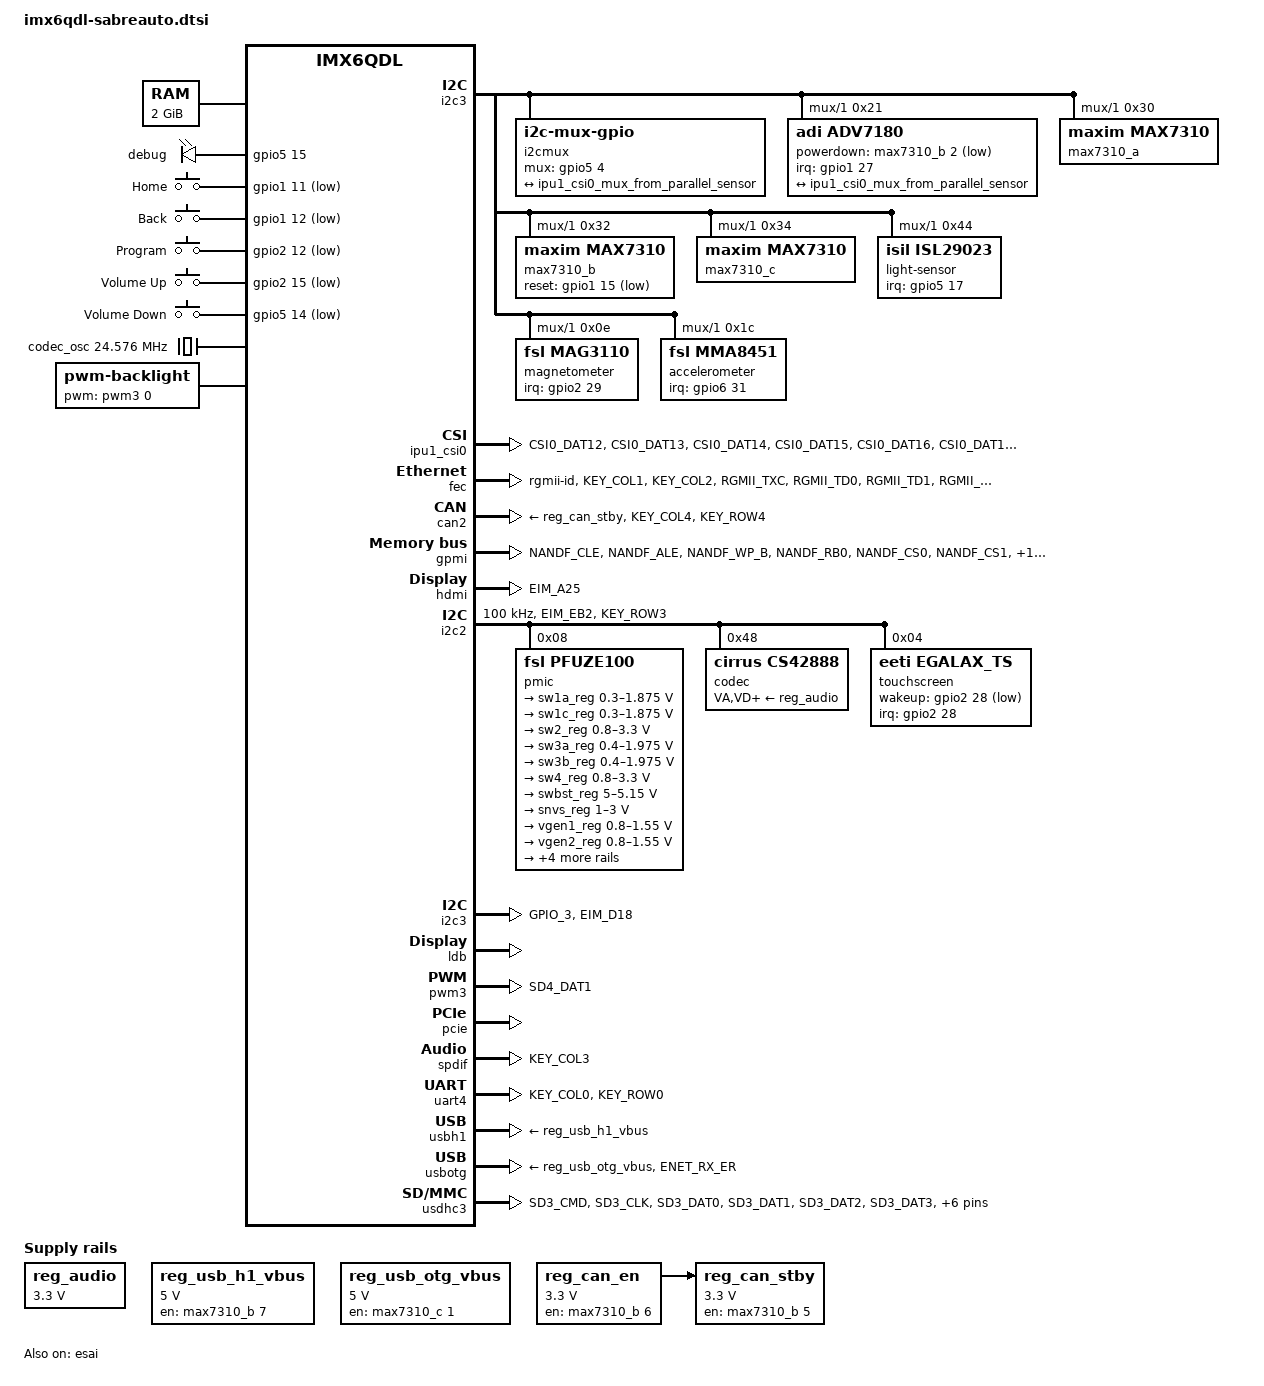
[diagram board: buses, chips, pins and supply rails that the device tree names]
// SPDX-License-Identifier: GPL-2.0+
//
// Copyright 2012 Freescale Semiconductor, Inc.
// Copyright 2011 Linaro Ltd.

#include <dt-bindings/gpio/gpio.h>
#include <dt-bindings/input/input.h>

/ {
	chosen {
		stdout-path = &uart4;
	};

	memory@10000000 {
		device_type = "memory";
		reg = <0x10000000 0x80000000>;
	};

	leds {
		compatible = "gpio-leds";
		pinctrl-names = "default";
		pinctrl-0 = <&pinctrl_gpio_leds>;

		led-user {
			label = "debug";
			gpios = <&gpio5 15 GPIO_ACTIVE_HIGH>;
		};
	};

	gpio-keys {
		compatible = "gpio-keys";
		pinctrl-names = "default";
		pinctrl-0 = <&pinctrl_gpio_keys>;

		home {
			label = "Home";
			gpios = <&gpio1 11 GPIO_ACTIVE_LOW>;
			linux,code = <KEY_HOME>;
			wakeup-source;
		};

		back {
			label = "Back";
			gpios = <&gpio1 12 GPIO_ACTIVE_LOW>;
			linux,code = <KEY_BACK>;
			wakeup-source;
		};

		program {
			label = "Program";
			gpios = <&gpio2 12 GPIO_ACTIVE_LOW>;
			linux,code = <KEY_PROGRAM>;
			wakeup-source;
		};

		volume-up {
			label = "Volume Up";
			gpios = <&gpio2 15 GPIO_ACTIVE_LOW>;
			linux,code = <KEY_VOLUMEUP>;
			wakeup-source;
		};

		volume-down {
			label = "Volume Down";
			gpios = <&gpio5 14 GPIO_ACTIVE_LOW>;
			linux,code = <KEY_VOLUMEDOWN>;
			wakeup-source;
		};
	};

	clocks {
		codec_osc: anaclk2 {
			compatible = "fixed-clock";
			#clock-cells = <0>;
			clock-frequency = <24576000>;
		};
	};

	reg_audio: regulator-audio {
		compatible = "regulator-fixed";
		regulator-name = "cs42888_supply";
		regulator-min-microvolt = <3300000>;
		regulator-max-microvolt = <3300000>;
		regulator-always-on;
	};

	reg_usb_h1_vbus: regulator-usb-h1-vbus {
		compatible = "regulator-fixed";
		regulator-name = "usb_h1_vbus";
		regulator-min-microvolt = <5000000>;
		regulator-max-microvolt = <5000000>;
		gpio = <&max7310_b 7 GPIO_ACTIVE_HIGH>;
		enable-active-high;
	};

	reg_usb_otg_vbus: regulator-usb-otg-vbus {
		compatible = "regulator-fixed";
		regulator-name = "usb_otg_vbus";
		regulator-min-microvolt = <5000000>;
		regulator-max-microvolt = <5000000>;
		gpio = <&max7310_c 1 GPIO_ACTIVE_HIGH>;
		enable-active-high;
	};

	reg_can_en: regulator-can-en {
		compatible = "regulator-fixed";
		regulator-name = "can-en";
		regulator-min-microvolt = <3300000>;
		regulator-max-microvolt = <3300000>;
		gpio = <&max7310_b 6 GPIO_ACTIVE_HIGH>;
		enable-active-high;
	};

	reg_can_stby: regulator-can-stby {
		compatible = "regulator-fixed";
		regulator-name = "can-stby";
		regulator-min-microvolt = <3300000>;
		regulator-max-microvolt = <3300000>;
		gpio = <&max7310_b 5 GPIO_ACTIVE_HIGH>;
		enable-active-high;
		vin-supply = <&reg_can_en>;
	};

	sound-cs42888 {
		compatible = "fsl,imx6-sabreauto-cs42888",
			"fsl,imx-audio-cs42888";
		model = "imx-cs42888";
		audio-cpu = <&esai>;
		audio-asrc = <&asrc>;
		audio-codec = <&codec>;
		audio-routing =
			"Line Out Jack", "AOUT1L",
			"Line Out Jack", "AOUT1R",
			"Line Out Jack", "AOUT2L",
			"Line Out Jack", "AOUT2R",
			"Line Out Jack", "AOUT3L",
			"Line Out Jack", "AOUT3R",
			"Line Out Jack", "AOUT4L",
			"Line Out Jack", "AOUT4R",
			"AIN1L", "Line In Jack",
			"AIN1R", "Line In Jack",
			"AIN2L", "Line In Jack",
			"AIN2R", "Line In Jack";
	};

	sound-spdif {
		compatible = "fsl,imx-sabreauto-spdif",
			     "fsl,imx-audio-spdif";
		model = "imx-spdif";
		spdif-controller = <&spdif>;
		spdif-in;
	};

	backlight {
		compatible = "pwm-backlight";
		pwms = <&pwm3 0 5000000 0>;
		brightness-levels = <0 4 8 16 32 64 128 255>;
		default-brightness-level = <7>;
		status = "okay";
	};

	i2cmux {
		compatible = "i2c-mux-gpio";
		#address-cells = <1>;
		#size-cells = <0>;
		pinctrl-names = "default";
		pinctrl-0 = <&pinctrl_i2c3mux>;
		mux-gpios = <&gpio5 4 0>;
		i2c-parent = <&i2c3>;
		idle-state = <0>;

		i2c@1 {
			#address-cells = <1>;
			#size-cells = <0>;
			reg = <1>;

			adv7180: camera@21 {
				compatible = "adi,adv7180";
				reg = <0x21>;
				powerdown-gpios = <&max7310_b 2 GPIO_ACTIVE_LOW>;
				interrupt-parent = <&gpio1>;
				interrupts = <27 IRQ_TYPE_LEVEL_LOW>;

				port {
					adv7180_to_ipu1_csi0_mux: endpoint {
						remote-endpoint = <&ipu1_csi0_mux_from_parallel_sensor>;
						bus-width = <8>;
					};
				};
			};

			max7310_a: gpio@30 {
				compatible = "maxim,max7310";
				reg = <0x30>;
				gpio-controller;
				#gpio-cells = <2>;
			};

			max7310_b: gpio@32 {
				compatible = "maxim,max7310";
				reg = <0x32>;
				gpio-controller;
				#gpio-cells = <2>;
				pinctrl-names = "default";
				pinctrl-0 = <&pinctrl_max7310>;
				reset-gpios = <&gpio1 15 GPIO_ACTIVE_LOW>;
			};

			max7310_c: gpio@34 {
				compatible = "maxim,max7310";
				reg = <0x34>;
				gpio-controller;
				#gpio-cells = <2>;
			};

			light-sensor@44 {
				compatible = "isil,isl29023";
				reg = <0x44>;
				interrupt-parent = <&gpio5>;
				interrupts = <17 IRQ_TYPE_EDGE_FALLING>;
			};

			magnetometer@e {
				compatible = "fsl,mag3110";
				reg = <0x0e>;
				interrupt-parent = <&gpio2>;
				interrupts = <29 IRQ_TYPE_EDGE_RISING>;
			};

			accelerometer@1c {
				compatible = "fsl,mma8451";
				reg = <0x1c>;
				pinctrl-names = "default";
				pinctrl-0 = <&pinctrl_mma8451_int>;
				interrupt-parent = <&gpio6>;
				interrupts = <31 IRQ_TYPE_LEVEL_LOW>;
			};
		};
	};
};

&ipu1_csi0_from_ipu1_csi0_mux {
	bus-width = <8>;
};

&ipu1_csi0_mux_from_parallel_sensor {
	remote-endpoint = <&adv7180_to_ipu1_csi0_mux>;
	bus-width = <8>;
};

&ipu1_csi0 {
	pinctrl-names = "default";
	pinctrl-0 = <&pinctrl_ipu1_csi0>;
};

&clks {
	assigned-clocks = <&clks IMX6QDL_PLL4_BYPASS_SRC>,
			  <&clks IMX6QDL_PLL4_BYPASS>,
			  <&clks IMX6QDL_CLK_LDB_DI0_SEL>,
			  <&clks IMX6QDL_CLK_LDB_DI1_SEL>,
			  <&clks IMX6QDL_CLK_PLL4_POST_DIV>;
	assigned-clock-parents = <&clks IMX6QDL_CLK_LVDS2_IN>,
				 <&clks IMX6QDL_PLL4_BYPASS_SRC>,
				 <&clks IMX6QDL_CLK_PLL3_USB_OTG>,
				 <&clks IMX6QDL_CLK_PLL3_USB_OTG>;
	assigned-clock-rates = <0>, <0>, <0>, <0>, <24576000>;
};

&ecspi1 {
	cs-gpios = <&gpio3 19 GPIO_ACTIVE_LOW>;
	pinctrl-names = "default";
	pinctrl-0 = <&pinctrl_ecspi1 &pinctrl_ecspi1_cs>;
	status = "disabled"; /* pin conflict with WEIM NOR */

	flash: flash@0 {
		#address-cells = <1>;
		#size-cells = <1>;
		compatible = "st,m25p32", "jedec,spi-nor";
		spi-max-frequency = <20000000>;
		reg = <0>;
	};
};

&esai {
	pinctrl-names = "default";
	pinctrl-0 = <&pinctrl_esai>;
	assigned-clocks = <&clks IMX6QDL_CLK_ESAI_SEL>,
			  <&clks IMX6QDL_CLK_ESAI_EXTAL>;
	assigned-clock-parents = <&clks IMX6QDL_CLK_PLL4_AUDIO_DIV>;
	assigned-clock-rates = <0>, <24576000>;
	status = "okay";
};

&fec {
	pinctrl-names = "default";
	pinctrl-0 = <&pinctrl_enet>;
	phy-mode = "rgmii-id";
	/delete-property/ interrupts;
	interrupts-extended = <&gpio1 6 IRQ_TYPE_LEVEL_HIGH>,
			      <&intc 0 119 IRQ_TYPE_LEVEL_HIGH>;
	fsl,err006687-workaround-present;
	fsl,magic-packet;
	status = "okay";
};

&can1 {
	pinctrl-names = "default";
	pinctrl-0 = <&pinctrl_flexcan1>;
	xceiver-supply = <&reg_can_stby>;
	status = "disabled"; /* pin conflict with fec */
};

&can2 {
	pinctrl-names = "default";
	pinctrl-0 = <&pinctrl_flexcan2>;
	xceiver-supply = <&reg_can_stby>;
	status = "okay";
};

&gpmi {
	pinctrl-names = "default";
	pinctrl-0 = <&pinctrl_gpmi_nand>;
	status = "okay";
};

&hdmi {
	pinctrl-names = "default";
	pinctrl-0 = <&pinctrl_hdmi_cec>;
	ddc-i2c-bus = <&i2c2>;
	status = "okay";
};

&i2c2 {
	clock-frequency = <100000>;
	pinctrl-names = "default";
	pinctrl-0 = <&pinctrl_i2c2>;
	status = "okay";

	pmic: pmic@8 {
		compatible = "fsl,pfuze100";
		reg = <0x08>;

		regulators {
			sw1a_reg: sw1ab {
				regulator-min-microvolt = <300000>;
				regulator-max-microvolt = <1875000>;
				regulator-boot-on;
				regulator-always-on;
				regulator-ramp-delay = <6250>;
			};

			sw1c_reg: sw1c {
				regulator-min-microvolt = <300000>;
				regulator-max-microvolt = <1875000>;
				regulator-boot-on;
				regulator-always-on;
				regulator-ramp-delay = <6250>;
			};

			sw2_reg: sw2 {
				regulator-min-microvolt = <800000>;
				regulator-max-microvolt = <3300000>;
				regulator-boot-on;
				regulator-always-on;
			};

			sw3a_reg: sw3a {
				regulator-min-microvolt = <400000>;
				regulator-max-microvolt = <1975000>;
				regulator-boot-on;
				regulator-always-on;
			};

			sw3b_reg: sw3b {
				regulator-min-microvolt = <400000>;
				regulator-max-microvolt = <1975000>;
				regulator-boot-on;
				regulator-always-on;
			};

			sw4_reg: sw4 {
				regulator-min-microvolt = <800000>;
				regulator-max-microvolt = <3300000>;
			};

			swbst_reg: swbst {
				regulator-min-microvolt = <5000000>;
				regulator-max-microvolt = <5150000>;
			};

			snvs_reg: vsnvs {
				regulator-min-microvolt = <1000000>;
				regulator-max-microvolt = <3000000>;
				regulator-boot-on;
				regulator-always-on;
			};

			vref_reg: vrefddr {
				regulator-boot-on;
				regulator-always-on;
			};

			vgen1_reg: vgen1 {
				regulator-min-microvolt = <800000>;
				regulator-max-microvolt = <1550000>;
			};

			vgen2_reg: vgen2 {
				regulator-min-microvolt = <800000>;
				regulator-max-microvolt = <1550000>;
			};

			vgen3_reg: vgen3 {
				regulator-min-microvolt = <1800000>;
				regulator-max-microvolt = <3300000>;
			};

			vgen4_reg: vgen4 {
				regulator-min-microvolt = <1800000>;
				regulator-max-microvolt = <3300000>;
				regulator-always-on;
			};

			vgen5_reg: vgen5 {
				regulator-min-microvolt = <1800000>;
				regulator-max-microvolt = <3300000>;
				regulator-always-on;
			};

			vgen6_reg: vgen6 {
				regulator-min-microvolt = <1800000>;
				regulator-max-microvolt = <3300000>;
				regulator-always-on;
			};
		};
	};

	codec: cs42888@48 {
		compatible = "cirrus,cs42888";
		reg = <0x48>;
		clocks = <&codec_osc>;
		clock-names = "mclk";
		VA-supply = <&reg_audio>;
		VD-supply = <&reg_audio>;
		VLS-supply = <&reg_audio>;
		VLC-supply = <&reg_audio>;
	};

	touchscreen@4 {
		compatible = "eeti,egalax_ts";
		reg = <0x04>;
		pinctrl-names = "default";
		pinctrl-0 = <&pinctrl_egalax_int>;
		interrupt-parent = <&gpio2>;
		interrupts = <28 IRQ_TYPE_LEVEL_LOW>;
		wakeup-gpios = <&gpio2 28 GPIO_ACTIVE_LOW>;
	};
};

&i2c3 {
	pinctrl-names = "default";
	pinctrl-0 = <&pinctrl_i2c3>;
	status = "okay";
};

&iomuxc {
	pinctrl-names = "default";
	pinctrl-0 = <&pinctrl_hog>;

	imx6qdl-sabreauto {
		pinctrl_hog: hoggrp {
			fsl,pins = <
				MX6QDL_PAD_NANDF_CS2__GPIO6_IO15 0x80000000
				MX6QDL_PAD_SD2_DAT2__GPIO1_IO13  0x80000000
				MX6QDL_PAD_GPIO_18__SD3_VSELECT 0x17059
			>;
		};

		pinctrl_ecspi1: ecspi1grp {
			fsl,pins = <
				MX6QDL_PAD_EIM_D17__ECSPI1_MISO		0x100b1
				MX6QDL_PAD_EIM_D18__ECSPI1_MOSI		0x100b1
				MX6QDL_PAD_EIM_D16__ECSPI1_SCLK		0x100b1
			>;
		};

		pinctrl_ecspi1_cs: ecspi1cs {
			fsl,pins = <
				MX6QDL_PAD_EIM_D19__GPIO3_IO19 0x80000000
			>;
		};

		pinctrl_egalax_int: egalax-intgrp {
			fsl,pins = <
				MX6QDL_PAD_EIM_EB0__GPIO2_IO28		0xb0b1
			>;
		};

		pinctrl_enet: enetgrp {
			fsl,pins = <
				MX6QDL_PAD_KEY_COL1__ENET_MDIO		0x1b0b0
				MX6QDL_PAD_KEY_COL2__ENET_MDC		0x1b0b0
				MX6QDL_PAD_RGMII_TXC__RGMII_TXC		0x1b030
				MX6QDL_PAD_RGMII_TD0__RGMII_TD0		0x1b030
				MX6QDL_PAD_RGMII_TD1__RGMII_TD1		0x1b030
				MX6QDL_PAD_RGMII_TD2__RGMII_TD2		0x1b030
				MX6QDL_PAD_RGMII_TD3__RGMII_TD3		0x1b030
				MX6QDL_PAD_RGMII_TX_CTL__RGMII_TX_CTL	0x1b030
				MX6QDL_PAD_ENET_REF_CLK__ENET_TX_CLK	0x1b0b0
				MX6QDL_PAD_RGMII_RXC__RGMII_RXC		0x1b030
				MX6QDL_PAD_RGMII_RD0__RGMII_RD0		0x1b030
				MX6QDL_PAD_RGMII_RD1__RGMII_RD1		0x1b030
				MX6QDL_PAD_RGMII_RD2__RGMII_RD2		0x1b030
				MX6QDL_PAD_RGMII_RD3__RGMII_RD3		0x1b030
				MX6QDL_PAD_RGMII_RX_CTL__RGMII_RX_CTL	0x1b030
				MX6QDL_PAD_GPIO_6__ENET_IRQ		0x000b1
			>;
		};

		pinctrl_esai: esaigrp {
			fsl,pins = <
				MX6QDL_PAD_ENET_CRS_DV__ESAI_TX_CLK 0x1b030
				MX6QDL_PAD_ENET_RXD1__ESAI_TX_FS    0x1b030
				MX6QDL_PAD_ENET_TX_EN__ESAI_TX3_RX2 0x1b030
				MX6QDL_PAD_GPIO_5__ESAI_TX2_RX3     0x1b030
				MX6QDL_PAD_ENET_TXD0__ESAI_TX4_RX1  0x1b030
				MX6QDL_PAD_ENET_MDC__ESAI_TX5_RX0   0x1b030
				MX6QDL_PAD_GPIO_17__ESAI_TX0        0x1b030
				MX6QDL_PAD_NANDF_CS3__ESAI_TX1      0x1b030
				MX6QDL_PAD_ENET_MDIO__ESAI_RX_CLK   0x1b030
				MX6QDL_PAD_GPIO_9__ESAI_RX_FS       0x1b030
			>;
		};

		pinctrl_flexcan1: flexcan1grp {
			fsl,pins = <
				MX6QDL_PAD_KEY_ROW2__FLEXCAN1_RX        0x17059
				MX6QDL_PAD_KEY_COL2__FLEXCAN1_TX	0x17059
			>;
		};

		pinctrl_flexcan2: flexcan2grp {
			fsl,pins = <
				MX6QDL_PAD_KEY_COL4__FLEXCAN2_TX	0x17059
				MX6QDL_PAD_KEY_ROW4__FLEXCAN2_RX	0x17059
			>;
		};

		pinctrl_gpio_keys: gpiokeysgrp {
			fsl,pins = <
				MX6QDL_PAD_SD2_CMD__GPIO1_IO11		0x1b0b0
				MX6QDL_PAD_SD2_DAT3__GPIO1_IO12		0x1b0b0
				MX6QDL_PAD_SD4_DAT4__GPIO2_IO12		0x1b0b0
				MX6QDL_PAD_SD4_DAT7__GPIO2_IO15		0x1b0b0
				MX6QDL_PAD_DISP0_DAT20__GPIO5_IO14	0x1b0b0
			>;
		};

		pinctrl_gpio_leds: gpioledsgrp {
			fsl,pins = <
				MX6QDL_PAD_DISP0_DAT21__GPIO5_IO15	0x80000000
			>;
		};

		pinctrl_gpmi_nand: gpminandgrp {
			fsl,pins = <
				MX6QDL_PAD_NANDF_CLE__NAND_CLE		0xb0b1
				MX6QDL_PAD_NANDF_ALE__NAND_ALE		0xb0b1
				MX6QDL_PAD_NANDF_WP_B__NAND_WP_B	0xb0b1
				MX6QDL_PAD_NANDF_RB0__NAND_READY_B	0xb000
				MX6QDL_PAD_NANDF_CS0__NAND_CE0_B	0xb0b1
				MX6QDL_PAD_NANDF_CS1__NAND_CE1_B	0xb0b1
				MX6QDL_PAD_SD4_CMD__NAND_RE_B		0xb0b1
				MX6QDL_PAD_SD4_CLK__NAND_WE_B		0xb0b1
				MX6QDL_PAD_NANDF_D0__NAND_DATA00	0xb0b1
				MX6QDL_PAD_NANDF_D1__NAND_DATA01	0xb0b1
				MX6QDL_PAD_NANDF_D2__NAND_DATA02	0xb0b1
				MX6QDL_PAD_NANDF_D3__NAND_DATA03	0xb0b1
				MX6QDL_PAD_NANDF_D4__NAND_DATA04	0xb0b1
				MX6QDL_PAD_NANDF_D5__NAND_DATA05	0xb0b1
				MX6QDL_PAD_NANDF_D6__NAND_DATA06	0xb0b1
				MX6QDL_PAD_NANDF_D7__NAND_DATA07	0xb0b1
				MX6QDL_PAD_SD4_DAT0__NAND_DQS		0x00b1
			>;
		};

		pinctrl_hdmi_cec: hdmicecgrp {
			fsl,pins = <
				MX6QDL_PAD_EIM_A25__HDMI_TX_CEC_LINE	0x1f8b0
			>;
		};

		pinctrl_i2c2: i2c2grp {
			fsl,pins = <
				MX6QDL_PAD_EIM_EB2__I2C2_SCL	0x4001b8b1
				MX6QDL_PAD_KEY_ROW3__I2C2_SDA	0x4001b8b1
			>;
		};

		pinctrl_i2c3: i2c3grp {
			fsl,pins = <
				MX6QDL_PAD_GPIO_3__I2C3_SCL  0x4001b8b1
				MX6QDL_PAD_EIM_D18__I2C3_SDA 0x4001b8b1
			>;
		};

		pinctrl_i2c3mux: i2c3muxgrp {
			fsl,pins = <
				MX6QDL_PAD_EIM_A24__GPIO5_IO04 0x0b0b1
			>;
		};

		pinctrl_ipu1_csi0: ipu1csi0grp {
			fsl,pins = <
				MX6QDL_PAD_CSI0_DAT12__IPU1_CSI0_DATA12  0x1b0b0
				MX6QDL_PAD_CSI0_DAT13__IPU1_CSI0_DATA13  0x1b0b0
				MX6QDL_PAD_CSI0_DAT14__IPU1_CSI0_DATA14  0x1b0b0
				MX6QDL_PAD_CSI0_DAT15__IPU1_CSI0_DATA15  0x1b0b0
				MX6QDL_PAD_CSI0_DAT16__IPU1_CSI0_DATA16  0x1b0b0
				MX6QDL_PAD_CSI0_DAT17__IPU1_CSI0_DATA17  0x1b0b0
				MX6QDL_PAD_CSI0_DAT18__IPU1_CSI0_DATA18  0x1b0b0
				MX6QDL_PAD_CSI0_DAT19__IPU1_CSI0_DATA19  0x1b0b0
				MX6QDL_PAD_CSI0_PIXCLK__IPU1_CSI0_PIXCLK 0x1b0b0
				MX6QDL_PAD_CSI0_MCLK__IPU1_CSI0_HSYNC    0x1b0b0
				MX6QDL_PAD_CSI0_VSYNC__IPU1_CSI0_VSYNC   0x1b0b0
			>;
		};

		pinctrl_max7310: max7310grp {
			fsl,pins = <
				MX6QDL_PAD_SD2_DAT0__GPIO1_IO15 0x1b0b0
			>;
		};

		pinctrl_mma8451_int: mma8451intgrp {
			fsl,pins = <
				MX6QDL_PAD_EIM_BCLK__GPIO6_IO31		0xb0b1
			>;
		};

		pinctrl_pwm3: pwm1grp {
			fsl,pins = <
				MX6QDL_PAD_SD4_DAT1__PWM3_OUT		0x1b0b1
			>;
		};

		pinctrl_gpt_input_capture0: gptinputcapture0grp {
			fsl,pins = <
				MX6QDL_PAD_SD1_DAT0__GPT_CAPTURE1	0x1b0b0
			>;
		};

		pinctrl_gpt_input_capture1: gptinputcapture1grp {
			fsl,pins = <
				MX6QDL_PAD_SD1_DAT1__GPT_CAPTURE2	0x1b0b0
			>;
		};

		pinctrl_spdif: spdifgrp {
			fsl,pins = <
				MX6QDL_PAD_KEY_COL3__SPDIF_IN 0x1b0b0
			>;
		};

		pinctrl_uart4: uart4grp {
			fsl,pins = <
				MX6QDL_PAD_KEY_COL0__UART4_TX_DATA	0x1b0b1
				MX6QDL_PAD_KEY_ROW0__UART4_RX_DATA	0x1b0b1
			>;
		};

		pinctrl_usbotg: usbotggrp {
			fsl,pins = <
				MX6QDL_PAD_ENET_RX_ER__USB_OTG_ID 0x17059
			>;
		};

		pinctrl_usdhc3: usdhc3grp {
			fsl,pins = <
				MX6QDL_PAD_SD3_CMD__SD3_CMD		0x17059
				MX6QDL_PAD_SD3_CLK__SD3_CLK		0x10059
				MX6QDL_PAD_SD3_DAT0__SD3_DATA0		0x17059
				MX6QDL_PAD_SD3_DAT1__SD3_DATA1		0x17059
				MX6QDL_PAD_SD3_DAT2__SD3_DATA2		0x17059
				MX6QDL_PAD_SD3_DAT3__SD3_DATA3		0x17059
				MX6QDL_PAD_SD3_DAT4__SD3_DATA4		0x17059
				MX6QDL_PAD_SD3_DAT5__SD3_DATA5		0x17059
				MX6QDL_PAD_SD3_DAT6__SD3_DATA6		0x17059
				MX6QDL_PAD_SD3_DAT7__SD3_DATA7		0x17059
			>;
		};

		pinctrl_usdhc3_100mhz: usdhc3grp100mhz {
			fsl,pins = <
				MX6QDL_PAD_SD3_CMD__SD3_CMD		0x170b9
				MX6QDL_PAD_SD3_CLK__SD3_CLK		0x100b9
				MX6QDL_PAD_SD3_DAT0__SD3_DATA0		0x170b9
				MX6QDL_PAD_SD3_DAT1__SD3_DATA1		0x170b9
				MX6QDL_PAD_SD3_DAT2__SD3_DATA2		0x170b9
				MX6QDL_PAD_SD3_DAT3__SD3_DATA3		0x170b9
				MX6QDL_PAD_SD3_DAT4__SD3_DATA4		0x170b9
				MX6QDL_PAD_SD3_DAT5__SD3_DATA5		0x170b9
				MX6QDL_PAD_SD3_DAT6__SD3_DATA6		0x170b9
				MX6QDL_PAD_SD3_DAT7__SD3_DATA7		0x170b9
			>;
		};

		pinctrl_usdhc3_200mhz: usdhc3grp200mhz {
			fsl,pins = <
				MX6QDL_PAD_SD3_CMD__SD3_CMD		0x170f9
				MX6QDL_PAD_SD3_CLK__SD3_CLK		0x100f9
				MX6QDL_PAD_SD3_DAT0__SD3_DATA0		0x170f9
				MX6QDL_PAD_SD3_DAT1__SD3_DATA1		0x170f9
				MX6QDL_PAD_SD3_DAT2__SD3_DATA2		0x170f9
				MX6QDL_PAD_SD3_DAT3__SD3_DATA3		0x170f9
				MX6QDL_PAD_SD3_DAT4__SD3_DATA4		0x170f9
				MX6QDL_PAD_SD3_DAT5__SD3_DATA5		0x170f9
				MX6QDL_PAD_SD3_DAT6__SD3_DATA6		0x170f9
				MX6QDL_PAD_SD3_DAT7__SD3_DATA7		0x170f9
			>;
		};

		pinctrl_weim_cs0: weimcs0grp {
			fsl,pins = <
				MX6QDL_PAD_EIM_CS0__EIM_CS0_B		0xb0b1
			>;
		};

		pinctrl_weim_nor: weimnorgrp {
			fsl,pins = <
				MX6QDL_PAD_EIM_OE__EIM_OE_B		0xb0b1
				MX6QDL_PAD_EIM_RW__EIM_RW		0xb0b1
				MX6QDL_PAD_EIM_WAIT__EIM_WAIT_B		0xb060
				MX6QDL_PAD_EIM_D16__EIM_DATA16		0x1b0b0
				MX6QDL_PAD_EIM_D17__EIM_DATA17		0x1b0b0
				MX6QDL_PAD_EIM_D18__EIM_DATA18		0x1b0b0
				MX6QDL_PAD_EIM_D19__EIM_DATA19		0x1b0b0
				MX6QDL_PAD_EIM_D20__EIM_DATA20		0x1b0b0
				MX6QDL_PAD_EIM_D21__EIM_DATA21		0x1b0b0
				MX6QDL_PAD_EIM_D22__EIM_DATA22		0x1b0b0
				MX6QDL_PAD_EIM_D23__EIM_DATA23		0x1b0b0
				MX6QDL_PAD_EIM_D24__EIM_DATA24		0x1b0b0
				MX6QDL_PAD_EIM_D25__EIM_DATA25		0x1b0b0
				MX6QDL_PAD_EIM_D26__EIM_DATA26		0x1b0b0
				MX6QDL_PAD_EIM_D27__EIM_DATA27		0x1b0b0
				MX6QDL_PAD_EIM_D28__EIM_DATA28		0x1b0b0
				MX6QDL_PAD_EIM_D29__EIM_DATA29		0x1b0b0
				MX6QDL_PAD_EIM_D30__EIM_DATA30		0x1b0b0
				MX6QDL_PAD_EIM_D31__EIM_DATA31		0x1b0b0
				MX6QDL_PAD_EIM_A23__EIM_ADDR23		0xb0b1
				MX6QDL_PAD_EIM_A22__EIM_ADDR22		0xb0b1
				MX6QDL_PAD_EIM_A21__EIM_ADDR21		0xb0b1
				MX6QDL_PAD_EIM_A20__EIM_ADDR20		0xb0b1
				MX6QDL_PAD_EIM_A19__EIM_ADDR19		0xb0b1
				MX6QDL_PAD_EIM_A18__EIM_ADDR18		0xb0b1
				MX6QDL_PAD_EIM_A17__EIM_ADDR17		0xb0b1
				MX6QDL_PAD_EIM_A16__EIM_ADDR16		0xb0b1
				MX6QDL_PAD_EIM_DA15__EIM_AD15		0xb0b1
				MX6QDL_PAD_EIM_DA14__EIM_AD14		0xb0b1
				MX6QDL_PAD_EIM_DA13__EIM_AD13		0xb0b1
				MX6QDL_PAD_EIM_DA12__EIM_AD12		0xb0b1
				MX6QDL_PAD_EIM_DA11__EIM_AD11		0xb0b1
				MX6QDL_PAD_EIM_DA10__EIM_AD10		0xb0b1
				MX6QDL_PAD_EIM_DA9__EIM_AD09		0xb0b1
				MX6QDL_PAD_EIM_DA8__EIM_AD08		0xb0b1
				MX6QDL_PAD_EIM_DA7__EIM_AD07		0xb0b1
				MX6QDL_PAD_EIM_DA6__EIM_AD06		0xb0b1
				MX6QDL_PAD_EIM_DA5__EIM_AD05		0xb0b1
				MX6QDL_PAD_EIM_DA4__EIM_AD04		0xb0b1
				MX6QDL_PAD_EIM_DA3__EIM_AD03		0xb0b1
				MX6QDL_PAD_EIM_DA2__EIM_AD02		0xb0b1
				MX6QDL_PAD_EIM_DA1__EIM_AD01		0xb0b1
				MX6QDL_PAD_EIM_DA0__EIM_AD00		0xb0b1
			>;
		};
	};
};

&ldb {
	status = "okay";

	lvds-channel@0 {
		fsl,data-mapping = "spwg";
		fsl,data-width = <18>;
		status = "okay";

		display-timings {
			native-mode = <&timing0>;
			timing0: timing-hsd100pxn1 {
				clock-frequency = <65000000>;
				hactive = <1024>;
				vactive = <768>;
				hback-porch = <220>;
				hfront-porch = <40>;
				vback-porch = <21>;
				vfront-porch = <7>;
				hsync-len = <60>;
				vsync-len = <10>;
			};
		};
	};
};

&pwm3 {
	pinctrl-names = "default";
	pinctrl-0 = <&pinctrl_pwm3>;
	status = "okay";
};

&pcie {
	status = "okay";
};

&spdif {
	pinctrl-names = "default";
	pinctrl-0 = <&pinctrl_spdif>;
	status = "okay";
};

&uart4 {
	pinctrl-names = "default";
	pinctrl-0 = <&pinctrl_uart4>;
	status = "okay";
};

&usbh1 {
	vbus-supply = <&reg_usb_h1_vbus>;
	status = "okay";
};

&usbotg {
	vbus-supply = <&reg_usb_otg_vbus>;
	pinctrl-names = "default";
	pinctrl-0 = <&pinctrl_usbotg>;
	status = "okay";
};

&usdhc3 {
	pinctrl-names = "default", "state_100mhz", "state_200mhz";
	pinctrl-0 = <&pinctrl_usdhc3>;
	pinctrl-1 = <&pinctrl_usdhc3_100mhz>;
	pinctrl-2 = <&pinctrl_usdhc3_200mhz>;
	cd-gpios = <&gpio6 15 GPIO_ACTIVE_LOW>;
	wp-gpios = <&gpio1 13 GPIO_ACTIVE_HIGH>;
	status = "okay";
};

&weim {
	pinctrl-names = "default";
	pinctrl-0 = <&pinctrl_weim_nor &pinctrl_weim_cs0>;
	ranges = <0 0 0x08000000 0x08000000>;
	status = "disabled"; /* pin conflict with SPI NOR */

	nor@0,0 {
		compatible = "cfi-flash";
		reg = <0 0 0x02000000>;
		#address-cells = <1>;
		#size-cells = <1>;
		bank-width = <2>;
		fsl,weim-cs-timing = <0x00620081 0x00000001 0x1c022000
				0x0000c000 0x1404a38e 0x00000000>;
	};
};
